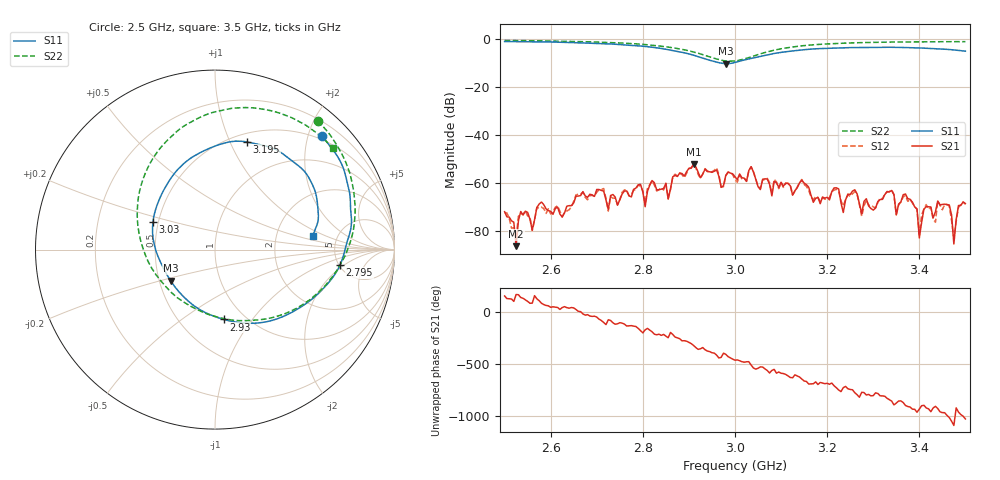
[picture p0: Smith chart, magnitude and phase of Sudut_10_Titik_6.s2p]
# Hz S RI R 50
! CMT, C1220, 16058040, 17.2.0/1
! Date: 15/08/2018 10:14:52
! Data: Format (Calibration Info)
! Freq  S11: Re/Im (F2)  S21: Re/Im (F2)  S12: Re/Im (F2)  S22: Re/Im (F2)
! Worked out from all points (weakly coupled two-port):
!   201 points, 2.5 GHz to 3.5 GHz, reference 50 ohm
!   highest |S21| = -52.37 dB at 2.91 GHz (marker M1); lowest = -86.5 dB at 2.525 GHz (marker M2)
!   lowest |S11| = -10.4 dB at 2.98 GHz (marker M3), VSWR 1.87, Z = 28.6 - j10.9 ohm
!   |S11| at or under -10 dB: 2.965 GHz to 2.998 GHz (33.65 MHz wide, 1.13 % of centre)
!   |S22| runs from -9.4 to -0.7 dB; largest |S21 - S12| = 0.00021
!   S11 on the Smith chart (normalised r, x): 2.5 GHz: 0.43, +2.25; 2.795 GHz: 5.13, -1.72; 2.93 GHz: 0.80, -0.74; 3.03 GHz: 0.47, +0.17; 3.195 GHz: 0.59, +1.16; 3.5 GHz: 3.26, +0.71
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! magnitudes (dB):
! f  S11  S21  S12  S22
! 2.5 GHz  -1.2  -72.1  -72.6  -0.7
! 2.525 GHz  -1.3  -86.5  -83.1  -0.8
! 2.67 GHz  -1.8  -63.7  -64.0  -1.2
! 2.725 GHz  -2.2  -71.2  -71.8  -1.6
! 2.795 GHz  -3.1  -60.7  -61.4  -2.3
! 2.805 GHz  -3.2  -70.0  -68.4  -2.5
! 2.835 GHz  -3.9  -62.9  -63.0  -3.0
! 2.91 GHz  -6.9  -52.4  -52.5  -5.5
! 2.93 GHz  -8.1  -56.5  -56.4  -6.7
! 2.98 GHz  -10.4  -57.0  -57.2  -9.3
! 3 GHz  -9.9  -57.5  -58.7  -9.3
! 3.03 GHz  -8.4  -54.9  -55.2  -7.9
! 3.17 GHz  -4.3  -68.2  -67.2  -2.6
! 3.195 GHz  -4.1  -66.5  -66.9  -2.2
! 3.26 GHz  -3.7  -63.0  -63.8  -1.7
! 3.275 GHz  -3.7  -72.9  -74.0  -1.6
! 3.335 GHz  -3.6  -63.8  -63.8  -1.4
! 3.4 GHz  -3.9  -83.1  -81.5  -1.3
! 3.415 GHz  -4.0  -70.0  -69.2  -1.3
! 3.465 GHz  -4.5  -69.3  -69.8  -1.3
! 3.475 GHz  -4.7  -85.6  -83.0  -1.3
! 3.5 GHz  -5.2  -68.7  -69.0  -1.3
